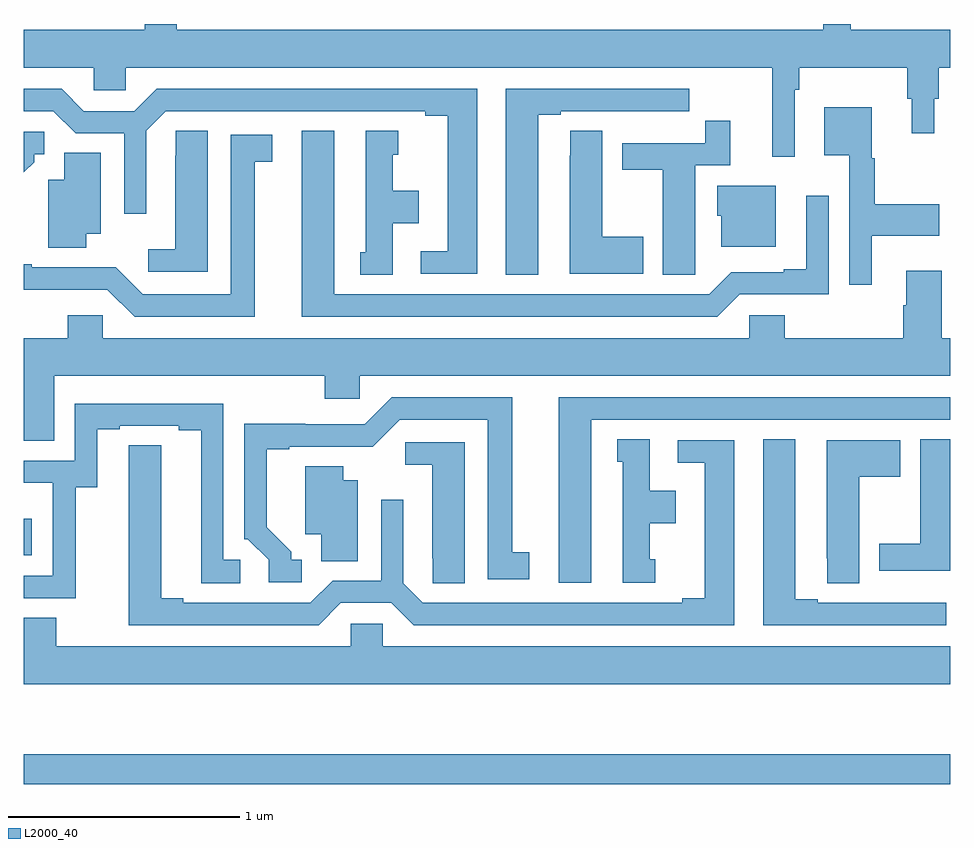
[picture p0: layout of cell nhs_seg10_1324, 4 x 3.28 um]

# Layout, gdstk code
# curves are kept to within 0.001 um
import gdstk
lib = gdstk.Library(unit=1e-6, precision=1e-09)
def R(c, l, rs):  # rectangles x0, y0, x1, y1
    for r in rs: c.add(gdstk.rectangle(r[:2], r[2:], *l))
def P(c, l, *ps):  # polygons
    for p in ps: c.add(gdstk.Polygon(p, *l))
L2000_40 = (2000, 40)

nhs_seg10_1324 = lib.new_cell('nhs_seg10_1324')
R(nhs_seg10_1324, L2000_40, [(179,1301.218,183,1301.347), (179,1302.206,179.035,1302.364)])
P(nhs_seg10_1324, L2000_40, [(182.328,1304.216),(182.348,1304.216),(182.348,1304.312),(182.815,1304.312),(182.815,1304.178),(182.834,1304.178),(182.834,1304.028),(182.932,1304.028),(182.932,1304.178),(182.951,1304.178),(182.951,1304.312),(183,1304.312),(183,1304.476),(182.57,1304.476),(182.57,1304.5),(182.453,1304.5),(182.453,1304.476),(179.661,1304.476),(179.661,1304.5),(179.523,1304.5),(179.523,1304.476),(179,1304.476),(179,1304.312),(179.301,1304.312),(179.301,1304.214),(179.439,1304.214),(179.439,1304.312),(182.231,1304.312),(182.231,1303.926),(182.328,1303.926)],
  [(180.958,1304.22),(179.573,1304.22),(179.477,1304.124),(179.259,1304.124),(179.163,1304.22),(179,1304.22),(179,1304.124),(179.127,1304.124),(179.223,1304.028),(179.433,1304.028),(179.433,1303.68),(179.529,1303.68),(179.529,1304.04),(179.613,1304.124),(180.734,1304.124),(180.734,1304.104),(180.83,1304.104),(180.83,1303.518),(180.714,1303.518),(180.714,1303.422),(180.958,1303.422)],
  [(181.222,1304.109),(181.318,1304.109),(181.318,1304.124),(181.594,1304.124),(181.594,1304.123),(181.76,1304.123),(181.76,1304.124),(181.873,1304.124),(181.873,1304.22),(181.082,1304.22),(181.082,1303.417),(181.222,1303.417)],
  [(182.662,1303.586),(182.953,1303.586),(182.953,1303.721),(182.674,1303.721),(182.674,1303.92),(182.662,1303.92),(182.662,1304.14),(182.456,1304.14),(182.456,1303.934),(182.565,1303.934),(182.565,1303.374),(182.662,1303.374)],
  [(181.899,1303.528),(181.9,1303.528),(181.9,1303.89),(182.051,1303.89),(182.051,1304.083),(181.942,1304.083),(181.942,1303.986),(181.583,1303.986),(181.583,1303.87),(181.76,1303.87),(181.76,1303.417),(181.899,1303.417)],
  [(179.794,1304.039),(179.655,1304.039),(179.655,1303.931),(179.654,1303.931),(179.654,1303.528),(179.538,1303.528),(179.538,1303.431),(179.794,1303.431)],
  [(181.675,1303.581),(181.498,1303.581),(181.498,1304.039),(181.359,1304.039),(181.359,1303.931),(181.358,1303.931),(181.358,1303.421),(181.675,1303.421)],
  [(182.091,1303.332),(182.475,1303.332),(182.475,1303.759),(182.378,1303.759),(182.378,1303.441),(182.282,1303.441),(182.282,1303.428),(182.055,1303.428),(181.959,1303.332),(180.34,1303.332),(180.34,1304.038),(180.2,1304.038),(180.2,1303.236),(181.995,1303.236)],
  [(180.592,1303.64),(180.706,1303.64),(180.706,1303.78),(180.592,1303.78),(180.592,1303.935),(180.616,1303.935),(180.616,1304.038),(180.476,1304.038),(180.476,1303.515),(180.452,1303.515),(180.452,1303.417),(180.592,1303.417)],
  [(179.044,1303.903),(179.044,1303.938),(179.089,1303.938),(179.089,1304.034),(179,1304.034),(179,1303.859)],
  [(179.998,1303.906),(180.073,1303.906),(180.073,1304.022),(179.894,1304.022),(179.894,1303.332),(179.514,1303.332),(179.396,1303.45),(179.035,1303.449),(179.035,1303.462),(179,1303.462),(179,1303.352),(179.361,1303.353),(179.478,1303.236),(179.998,1303.236)],
  [(179.269,1303.595),(179.332,1303.595),(179.332,1303.943),(179.174,1303.943),(179.174,1303.828),(179.105,1303.828),(179.105,1303.534),(179.269,1303.534)],
  [(182.248,1303.801),(181.994,1303.801),(181.994,1303.671),(182.012,1303.671),(182.012,1303.538),(182.248,1303.538)],
  [(179.131,1302.98),(180.299,1302.98),(180.299,1302.882),(180.45,1302.882),(180.45,1302.98),(183,1302.98),(183,1303.144),(182.963,1303.144),(182.963,1303.435),(182.81,1303.435),(182.81,1303.286),(182.798,1303.286),(182.798,1303.144),(182.285,1303.144),(182.285,1303.242),(182.133,1303.242),(182.133,1303.144),(179.34,1303.144),(179.34,1303.242),(179.189,1303.242),(179.189,1303.144),(179,1303.144),(179,1302.7),(179.131,1302.7)],
  [(180.199,1302.186),(180.154,1302.186),(180.154,1302.221),(180.049,1302.326),(180.049,1302.663),(180.145,1302.663),(180.145,1302.675),(180.506,1302.674),(180.624,1302.792),(181.004,1302.792),(181.004,1302.102),(181.183,1302.102),(181.183,1302.218),(181.108,1302.218),(181.108,1302.888),(180.588,1302.888),(180.471,1302.771),(180.215,1302.771),(180.215,1302.773),(179.952,1302.773),(179.952,1302.276),(179.967,1302.276),(180.057,1302.186),(180.057,1302.09),(180.199,1302.09)],
  [(181.45,1302.792),(183,1302.792),(183,1302.888),(181.31,1302.888),(181.31,1302.087),(181.45,1302.087)],
  [(179.223,1302.499),(179.317,1302.499),(179.317,1302.75),(179.413,1302.75),(179.413,1302.765),(179.669,1302.765),(179.669,1302.745),(179.765,1302.745),(179.765,1302.085),(179.935,1302.085),(179.935,1302.186),(179.862,1302.186),(179.862,1302.861),(179.22,1302.861),(179.22,1302.615),(179,1302.615),(179,1302.519),(179.123,1302.519),(179.123,1302.518),(179.124,1302.518),(179.124,1302.117),(179,1302.117),(179,1302.021),(179.223,1302.021)],
  [(181.726,1302.189),(181.702,1302.189),(181.702,1302.344),(181.816,1302.344),(181.816,1302.484),(181.702,1302.484),(181.702,1302.707),(181.562,1302.707),(181.562,1302.609),(181.586,1302.609),(181.586,1302.087),(181.726,1302.087)],
  [(182.983,1302),(182.87,1302),(182.87,1302.001),(182.704,1302.001),(182.704,1302),(182.428,1302),(182.428,1302.015),(182.332,1302.015),(182.332,1302.707),(182.192,1302.707),(182.192,1301.904),(182.983,1301.904)],
  [(183,1302.707),(182.87,1302.707),(182.87,1302.255),(182.693,1302.255),(182.693,1302.138),(183,1302.138)],
  [(182.608,1302.544),(182.785,1302.544),(182.785,1302.703),(182.468,1302.703),(182.468,1302.193),(182.469,1302.193),(182.469,1302.085),(182.608,1302.085)],
  [(180.369,1302),(180.587,1302),(180.683,1301.904),(182.068,1301.904),(182.068,1302.702),(181.824,1302.702),(181.824,1302.606),(181.94,1302.606),(181.94,1302.02),(181.844,1302.02),(181.844,1302),(180.723,1302),(180.639,1302.084),(180.639,1302.445),(180.543,1302.445),(180.543,1302.096),(180.333,1302.096),(180.237,1302),(179.689,1302),(179.689,1302.02),(179.593,1302.02),(179.593,1302.68),(179.454,1302.68),(179.453,1301.904),(180.273,1301.904)],
  [(180.904,1302.693),(180.648,1302.693),(180.648,1302.596),(180.764,1302.596),(180.764,1302.193),(180.765,1302.193),(180.765,1302.085),(180.904,1302.085)],
  [(180.442,1302.529),(180.379,1302.529),(180.379,1302.59),(180.215,1302.59),(180.215,1302.296),(180.284,1302.296),(180.284,1302.181),(180.442,1302.181)],
  [(183,1301.812),(180.549,1301.812),(180.549,1301.91),(180.411,1301.91),(180.411,1301.812),(179.139,1301.812),(179.139,1301.936),(179,1301.936),(179,1301.648),(183,1301.648)])

lib.write_gds('nhs_seg10_1324.gds')
